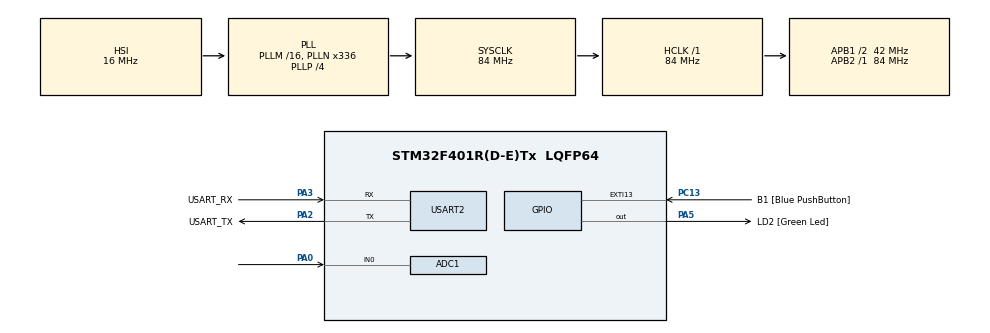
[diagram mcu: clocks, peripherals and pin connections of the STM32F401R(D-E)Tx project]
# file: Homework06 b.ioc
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ADC1.Channel-0\#ChannelRegularConversion=ADC_CHANNEL_0
ADC1.DMAContinuousRequests=ENABLE
ADC1.ExternalTrigConv=ADC_EXTERNALTRIGCONV_T2_TRGO
ADC1.NbrOfConversion=1
ADC1.NbrOfConversionFlag=1
ADC1.Rank-0\#ChannelRegularConversion=1
ADC1.SamplingTime-0\#ChannelRegularConversion=ADC_SAMPLETIME_480CYCLES
ADC1.master=1
Dma.ADC1.0.Direction=DMA_PERIPH_TO_MEMORY
Dma.ADC1.0.FIFOMode=DMA_FIFOMODE_DISABLE
Dma.ADC1.0.Instance=DMA2_Stream0
Dma.ADC1.0.MemDataAlignment=DMA_MDATAALIGN_HALFWORD
Dma.ADC1.0.MemInc=DMA_MINC_ENABLE
Dma.ADC1.0.Mode=DMA_CIRCULAR
Dma.ADC1.0.PeriphDataAlignment=DMA_PDATAALIGN_HALFWORD
Dma.ADC1.0.PeriphInc=DMA_PINC_DISABLE
Dma.ADC1.0.Priority=DMA_PRIORITY_VERY_HIGH
Dma.Request0=ADC1
Dma.Request1=USART2_TX
Dma.USART2_TX.1.Direction=DMA_MEMORY_TO_PERIPH
Dma.USART2_TX.1.FIFOMode=DMA_FIFOMODE_DISABLE
Dma.USART2_TX.1.Instance=DMA1_Stream6
Dma.USART2_TX.1.MemDataAlignment=DMA_MDATAALIGN_BYTE
Dma.USART2_TX.1.MemInc=DMA_MINC_ENABLE
Dma.USART2_TX.1.Mode=DMA_NORMAL
Dma.USART2_TX.1.PeriphDataAlignment=DMA_PDATAALIGN_BYTE
Dma.USART2_TX.1.PeriphInc=DMA_PINC_DISABLE
Dma.USART2_TX.1.Priority=DMA_PRIORITY_HIGH
Mcu.Family=STM32F4
Mcu.Name=STM32F401R(D-E)Tx
Mcu.Package=LQFP64
NVIC.ADC_IRQn=true\:0\:0\:false\:false\:true\:true\:true\:true
NVIC.DMA1_Stream6_IRQn=true\:0\:0\:false\:false\:true\:false\:true\:true
NVIC.DMA2_Stream0_IRQn=true\:0\:0\:false\:false\:true\:false\:true\:true
NVIC.PriorityGroup=NVIC_PRIORITYGROUP_0
NVIC.USART2_IRQn=true\:0\:0\:false\:false\:true\:true\:true\:true
PA0-WKUP.Signal=ADCx_IN0
PA13.GPIO_Label=TMS
PA13.Mode=Serial_Wire
PA13.Signal=SYS_JTMS-SWDIO
PA14.GPIO_Label=TCK
PA14.Mode=Serial_Wire
PA14.Signal=SYS_JTCK-SWCLK
PA2.GPIO_Label=USART_TX
PA2.GPIO_Mode=GPIO_MODE_AF_PP
PA2.GPIO_PuPd=GPIO_NOPULL
PA2.GPIO_Speed=GPIO_SPEED_FREQ_LOW
PA2.Mode=Asynchronous
PA2.Signal=USART2_TX
PA3.GPIO_Label=USART_RX
PA3.GPIO_Mode=GPIO_MODE_AF_PP
PA3.GPIO_PuPd=GPIO_NOPULL
PA3.GPIO_Speed=GPIO_SPEED_FREQ_LOW
PA3.Mode=Asynchronous
PA3.Signal=USART2_RX
PA5.GPIO_Label=LD2 [Green Led]
PA5.GPIO_Mode=GPIO_MODE_OUTPUT_PP
PA5.GPIO_PuPd=GPIO_NOPULL
PA5.GPIO_Speed=GPIO_SPEED_FREQ_LOW
PA5.Signal=GPIO_Output
PB3.GPIO_Label=SWO
PB3.Signal=SYS_JTDO-SWO
PC13-ANTI_TAMP.GPIO_Label=B1 [Blue PushButton]
PC13-ANTI_TAMP.GPIO_ModeDefaultEXTI=GPIO_MODE_IT_FALLING
PC13-ANTI_TAMP.GPIO_PuPd=GPIO_NOPULL
PC13-ANTI_TAMP.Signal=GPXTI13
PC14-OSC32_IN.Mode=LSE-External-Oscillator
PC14-OSC32_IN.Signal=RCC_OSC32_IN
PC15-OSC32_OUT.Mode=LSE-External-Oscillator
PC15-OSC32_OUT.Signal=RCC_OSC32_OUT
PH0\ -\ OSC_IN.Mode=HSE-External-Clock-Source
PH0\ -\ OSC_IN.Signal=RCC_OSC_IN
PH1\ -\ OSC_OUT.Mode=HSE-External-Clock-Source
PH1\ -\ OSC_OUT.Signal=RCC_OSC_OUT
ProjectManager.HeapSize=0x200
ProjectManager.StackSize=0x400
ProjectManager.TargetToolchain=STM32CubeIDE
RCC.48MHZClocksFreq_Value=48000000
RCC.AHBFreq_Value=84000000
RCC.APB1CLKDivider=RCC_HCLK_DIV2
RCC.APB1Freq_Value=42000000
RCC.APB1TimFreq_Value=84000000
RCC.APB2Freq_Value=84000000
RCC.APB2TimFreq_Value=84000000
RCC.CortexFreq_Value=84000000
RCC.HCLKFreq_Value=84000000
RCC.HSE_VALUE=8000000
RCC.HSI_VALUE=16000000
RCC.PLLN=336
RCC.PLLP=RCC_PLLP_DIV4
RCC.PLLQ=7
RCC.SYSCLKFreq_VALUE=84000000
RCC.SYSCLKSource=RCC_SYSCLKSOURCE_PLLCLK
RCC.VCOOutputFreq_Value=336000000
SH.ADCx_IN0.0=ADC1_IN0,IN0
TIM2.Period=8399
TIM2.Prescaler=9
TIM2.TIM_MasterOutputTrigger=TIM_TRGO_UPDATE
USART2.VirtualMode=VM_ASYNC
VP_TIM2_VS_ClockSourceINT.Mode=Internal
board=NUCLEO-F401RE

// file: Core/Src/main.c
/* USER CODE BEGIN Header */
/**
 ******************************************************************************
 * @file           : main.c
 * @brief          : Main program body
 ******************************************************************************
 * @attention
 *
 * Copyright (c) 2024 STMicroelectronics.
 * All rights reserved.
 *
 * This software is licensed under terms that can be found in the LICENSE file
 * in the root directory of this software component.
 * If no LICENSE file comes with this software, it is provided AS-IS.
 *
 ******************************************************************************
 */
/* USER CODE END Header */
#include "main.h"

/* USER CODE BEGIN Includes */
#include <string.h>
#include <math.h>
/* USER CODE END Includes */

/* USER CODE BEGIN PD */
#define SIZE 1000
/* USER CODE END PD */

ADC_HandleTypeDef hadc1;
DMA_HandleTypeDef hdma_adc1;

TIM_HandleTypeDef htim2;

UART_HandleTypeDef huart2;
DMA_HandleTypeDef hdma_usart2_tx;

void SystemClock_Config(void);
static void MX_GPIO_Init(void);
static void MX_DMA_Init(void);
static void MX_USART2_UART_Init(void);
static void MX_ADC1_Init(void);
static void MX_TIM2_Init(void);

/* USER CODE BEGIN 0 */

uint16_t adc_dma_result[SIZE], first[SIZE/2], second[SIZE/2];

char output[20];
int vldr = 0;
float mean;
float res;
float lux;
int result;

void convert(){
	result = 0;
	for(int i=0; i<SIZE/2; i++){
		result = result + first[i] + second[i];
	}
	mean = 3.3f * result /4096000;
	res =(mean * 100000)/(3.3f - mean);
	lux = 10 * pow(100000/res,1.25f);
	snprintf(output, 100, "Lux: %.5f\r\n", lux);
	HAL_UART_Transmit_DMA(&huart2, output, strlen(output));
}

void HAL_ADC_ConvHalfCpltCallback(ADC_HandleTypeDef *hadc) {

	for(int i=0; i<SIZE/2; i++){
		first[i] = adc_dma_result[i];
	}
}

void HAL_ADC_ConvCpltCallback(ADC_HandleTypeDef *hadc) {
	for(int i=0; i<SIZE/2; i++){
		second[i] = adc_dma_result[SIZE/2 + i];
	}
	convert();
}

/* USER CODE END 0 */

int main(void)
{

  /* MCU Configuration--------------------------------------------------------*/

  /* Reset of all peripherals, Initializes the Flash interface and the Systick. */
  HAL_Init();

  /* Configure the system clock */
  SystemClock_Config();

  /* Initialize all configured peripherals */
  MX_GPIO_Init();
  MX_DMA_Init();
  MX_USART2_UART_Init();
  MX_ADC1_Init();
  MX_TIM2_Init();
  /* USER CODE BEGIN 2 */
	HAL_ADC_Start_DMA(&hadc1, &adc_dma_result, SIZE);
	HAL_TIM_Base_Start(&htim2);
  /* USER CODE END 2 */

  /* Infinite loop */
	while (1)
	{

	}
}

void SystemClock_Config(void)
{
  RCC_OscInitTypeDef RCC_OscInitStruct = {0};
  RCC_ClkInitTypeDef RCC_ClkInitStruct = {0};

  /** Configure the main internal regulator output voltage
  */
  __HAL_RCC_PWR_CLK_ENABLE();
  __HAL_PWR_VOLTAGESCALING_CONFIG(PWR_REGULATOR_VOLTAGE_SCALE2);

  /** Initializes the RCC Oscillators according to the specified parameters
  * in the RCC_OscInitTypeDef structure.
  */
  RCC_OscInitStruct.OscillatorType = RCC_OSCILLATORTYPE_HSI;
  RCC_OscInitStruct.HSIState = RCC_HSI_ON;
  RCC_OscInitStruct.HSICalibrationValue = RCC_HSICALIBRATION_DEFAULT;
  RCC_OscInitStruct.PLL.PLLState = RCC_PLL_ON;
  RCC_OscInitStruct.PLL.PLLSource = RCC_PLLSOURCE_HSI;
  RCC_OscInitStruct.PLL.PLLM = 16;
  RCC_OscInitStruct.PLL.PLLN = 336;
  RCC_OscInitStruct.PLL.PLLP = RCC_PLLP_DIV4;
  RCC_OscInitStruct.PLL.PLLQ = 7;
  if (HAL_RCC_OscConfig(&RCC_OscInitStruct) != HAL_OK)
  {
    Error_Handler();
  }

  /** Initializes the CPU, AHB and APB buses clocks
  */
  RCC_ClkInitStruct.ClockType = RCC_CLOCKTYPE_HCLK|RCC_CLOCKTYPE_SYSCLK
                              |RCC_CLOCKTYPE_PCLK1|RCC_CLOCKTYPE_PCLK2;
  RCC_ClkInitStruct.SYSCLKSource = RCC_SYSCLKSOURCE_PLLCLK;
  RCC_ClkInitStruct.AHBCLKDivider = RCC_SYSCLK_DIV1;
  RCC_ClkInitStruct.APB1CLKDivider = RCC_HCLK_DIV2;
  RCC_ClkInitStruct.APB2CLKDivider = RCC_HCLK_DIV1;

  if (HAL_RCC_ClockConfig(&RCC_ClkInitStruct, FLASH_LATENCY_2) != HAL_OK)
  {
    Error_Handler();
  }
}

static void MX_ADC1_Init(void)
{

  ADC_ChannelConfTypeDef sConfig = {0};

  /** Configure the global features of the ADC (Clock, Resolution, Data Alignment and number of conversion)
  */
  hadc1.Instance = ADC1;
  hadc1.Init.ClockPrescaler = ADC_CLOCK_SYNC_PCLK_DIV4;
  hadc1.Init.Resolution = ADC_RESOLUTION_12B;
  hadc1.Init.ScanConvMode = DISABLE;
  hadc1.Init.ContinuousConvMode = DISABLE;
  hadc1.Init.DiscontinuousConvMode = DISABLE;
  hadc1.Init.ExternalTrigConvEdge = ADC_EXTERNALTRIGCONVEDGE_RISING;
  hadc1.Init.ExternalTrigConv = ADC_EXTERNALTRIGCONV_T2_TRGO;
  hadc1.Init.DataAlign = ADC_DATAALIGN_RIGHT;
  hadc1.Init.NbrOfConversion = 1;
  hadc1.Init.DMAContinuousRequests = ENABLE;
  hadc1.Init.EOCSelection = ADC_EOC_SINGLE_CONV;
  if (HAL_ADC_Init(&hadc1) != HAL_OK)
  {
    Error_Handler();
  }

  /** Configure for the selected ADC regular channel its corresponding rank in the sequencer and its sample time.
  */
  sConfig.Channel = ADC_CHANNEL_0;
  sConfig.Rank = 1;
  sConfig.SamplingTime = ADC_SAMPLETIME_480CYCLES;
  if (HAL_ADC_ConfigChannel(&hadc1, &sConfig) != HAL_OK)
  {
    Error_Handler();
  }

}

static void MX_TIM2_Init(void)
{

  TIM_ClockConfigTypeDef sClockSourceConfig = {0};
  TIM_MasterConfigTypeDef sMasterConfig = {0};

  htim2.Instance = TIM2;
  htim2.Init.Prescaler = 9;
  htim2.Init.CounterMode = TIM_COUNTERMODE_UP;
  htim2.Init.Period = 8399;
  htim2.Init.ClockDivision = TIM_CLOCKDIVISION_DIV1;
  htim2.Init.AutoReloadPreload = TIM_AUTORELOAD_PRELOAD_DISABLE;
  if (HAL_TIM_Base_Init(&htim2) != HAL_OK)
  {
    Error_Handler();
  }
  sClockSourceConfig.ClockSource = TIM_CLOCKSOURCE_INTERNAL;
  if (HAL_TIM_ConfigClockSource(&htim2, &sClockSourceConfig) != HAL_OK)
  {
    Error_Handler();
  }
  sMasterConfig.MasterOutputTrigger = TIM_TRGO_UPDATE;
  sMasterConfig.MasterSlaveMode = TIM_MASTERSLAVEMODE_DISABLE;
  if (HAL_TIMEx_MasterConfigSynchronization(&htim2, &sMasterConfig) != HAL_OK)
  {
    Error_Handler();
  }

}

static void MX_USART2_UART_Init(void)
{

  huart2.Instance = USART2;
  huart2.Init.BaudRate = 115200;
  huart2.Init.WordLength = UART_WORDLENGTH_8B;
  huart2.Init.StopBits = UART_STOPBITS_1;
  huart2.Init.Parity = UART_PARITY_NONE;
  huart2.Init.Mode = UART_MODE_TX_RX;
  huart2.Init.HwFlowCtl = UART_HWCONTROL_NONE;
  huart2.Init.OverSampling = UART_OVERSAMPLING_16;
  if (HAL_UART_Init(&huart2) != HAL_OK)
  {
    Error_Handler();
  }

}

static void MX_DMA_Init(void)
{

  /* DMA controller clock enable */
  __HAL_RCC_DMA2_CLK_ENABLE();
  __HAL_RCC_DMA1_CLK_ENABLE();

  /* DMA interrupt init */
  /* DMA1_Stream6_IRQn interrupt configuration */
  HAL_NVIC_SetPriority(DMA1_Stream6_IRQn, 0, 0);
  HAL_NVIC_EnableIRQ(DMA1_Stream6_IRQn);
  /* DMA2_Stream0_IRQn interrupt configuration */
  HAL_NVIC_SetPriority(DMA2_Stream0_IRQn, 0, 0);
  HAL_NVIC_EnableIRQ(DMA2_Stream0_IRQn);

}

static void MX_GPIO_Init(void)
{
  GPIO_InitTypeDef GPIO_InitStruct = {0};

  /* GPIO Ports Clock Enable */
  __HAL_RCC_GPIOC_CLK_ENABLE();
  __HAL_RCC_GPIOH_CLK_ENABLE();
  __HAL_RCC_GPIOA_CLK_ENABLE();
  __HAL_RCC_GPIOB_CLK_ENABLE();

  /*Configure GPIO pin Output Level */
  HAL_GPIO_WritePin(LD2_GPIO_Port, LD2_Pin, GPIO_PIN_RESET);

  /*Configure GPIO pin : B1_Pin */
  GPIO_InitStruct.Pin = B1_Pin;
  GPIO_InitStruct.Mode = GPIO_MODE_IT_FALLING;
  GPIO_InitStruct.Pull = GPIO_NOPULL;
  HAL_GPIO_Init(B1_GPIO_Port, &GPIO_InitStruct);

  /*Configure GPIO pin : LD2_Pin */
  GPIO_InitStruct.Pin = LD2_Pin;
  GPIO_InitStruct.Mode = GPIO_MODE_OUTPUT_PP;
  GPIO_InitStruct.Pull = GPIO_NOPULL;
  GPIO_InitStruct.Speed = GPIO_SPEED_FREQ_LOW;
  HAL_GPIO_Init(LD2_GPIO_Port, &GPIO_InitStruct);

}

void Error_Handler(void)
{
	__disable_irq();
	while (1)
	{
	}
}
